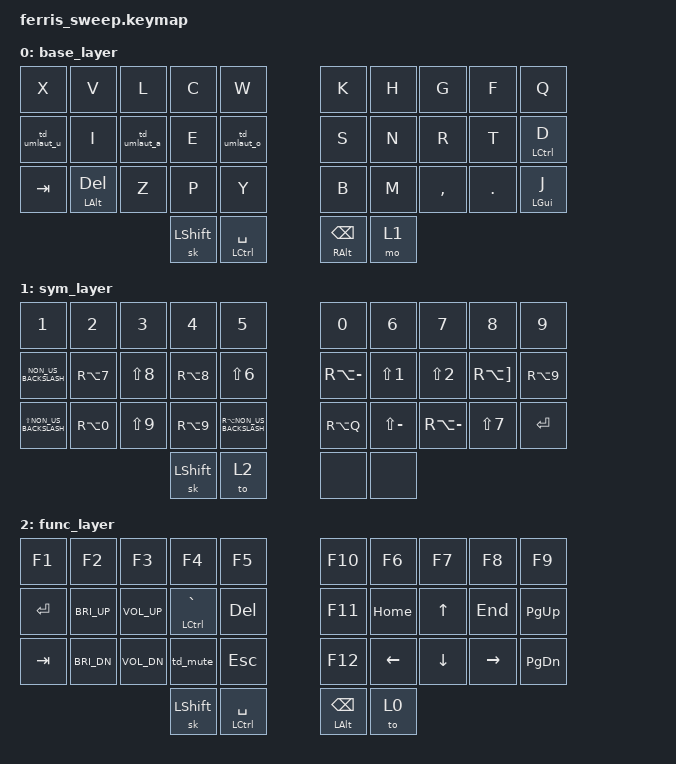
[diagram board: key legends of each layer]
#include <behaviors.dtsi>
#include <dt-bindings/zmk/keys.h>
#include <dt-bindings/zmk/bt.h>

/*
 * Deutsche Keycodes (für deutsches Tastaturlayout am PC)
 * Basierend auf HID-Scancodes mit deutschem Layout
 */
#define DE_Y        Z       // Z und Y sind im deutschen Layout vertauscht
#define DE_Z        Y
#define DE_ESZETT   LS(MINUS)         // ß = Shift + -
#define DE_A_UMLAUT LS(SQT)          // Ä = Shift + '
#define DE_O_UMLAUT SEMI             // Ö = ;
#define DE_U_UMLAUT LBKT             // Ü = [

// Sonderzeichen
#define DE_LESS_THAN        NON_US_BACKSLASH          // <
#define DE_GREATER_THAN     LS(NON_US_BACKSLASH)      // >
#define DE_PIPE             RA(NON_US_BACKSLASH)      // |
#define DE_BACKSLASH        RA(MINUS)                 // Backslash
#define DE_LEFT_BRACE       RA(N7)                    // {
#define DE_RIGHT_BRACE      RA(N0)                    // }
#define DE_LEFT_BRACKET     RA(N8)                    // [
#define DE_RIGHT_BRACKET    RA(N9)                    // ]
#define DE_LEFT_PARENTHESIS LS(N8)                    // (
#define DE_RIGHT_PARENTHESIS LS(N9)                   // )
#define DE_AMPERSAND        LS(N6)                    // &
#define DE_EXCLAMATION      LS(N1)                    // !
#define DE_DOUBLE_QUOTES    LS(N2)                    // "
#define DE_TILDE            RA(RBKT)                  // ~
#define DE_AT               RA(Q)                     // @
#define DE_QUESTION         LS(MINUS)                 // ?  (Achtung: gleiches HID wie ß, OS-abhängig)
#define DE_SLASH            LS(N7)                    // /
#define DE_EQUAL            LS(N0)                    // =

/*
 * Tastenpositionen (für Combos):
 *
 *  0  1  2  3  4      5  6  7  8  9
 * 10 11 12 13 14     15 16 17 18 19
 * 20 21 22 23 24     25 26 27 28 29
 *          30 31     32 33
 *
 * Base Layer:
 *  X  V  L  C  W      K  H  G  F  Q
 *  Ü  I  Ä  E  Ö      S  N  R  T  D
 * TAB DEL Y  P  Z      B  M  ,  .  J
 *           SFT SPC   BSP SYM
 *
 * Combo: Z(24) + S(15) = ß
 */

/ {
    combos {
        compatible = "zmk,combos";

        combo_eszett {
            timeout-ms = <50>;
            key-positions = <24 15>;
            bindings = <&kp DE_ESZETT>;
        };
    };

    behaviors {
        td_umlaut_u: td_umlaut_u {
            compatible = "zmk,behavior-tap-dance";
            #binding-cells = <0>;
            tapping-term-ms = <175>;
            bindings = <&kp U>, <&kp DE_U_UMLAUT>;
        };
        td_umlaut_a: td_umlaut_a {
            compatible = "zmk,behavior-tap-dance";
            #binding-cells = <0>;
            tapping-term-ms = <175>;
            bindings = <&kp A>, <&kp DE_A_UMLAUT>;
        };
        td_umlaut_o: td_umlaut_o {
            compatible = "zmk,behavior-tap-dance";
            #binding-cells = <0>;
            tapping-term-ms = <175>;
            bindings = <&kp O>, <&kp DE_O_UMLAUT>;
        };
        td_mute: td_mute {
            compatible = "zmk,behavior-tap-dance";
            #binding-cells = <0>;
            tapping-term-ms = <175>;
            bindings = <&kp K_MUTE>, <&kp DE_EQUAL>;
        };
    };

    keymap {
        compatible = "zmk,keymap";

        base_layer {
            bindings = <
// ╭─────────────┬─────────────┬─────────────┬─────────────┬─────────────╮   ╭─────────────┬─────────────┬─────────────┬─────────────┬─────────────╮
//  0             1             2             3             4                  5             6             7             8             9
    &kp X         &kp V         &kp L         &kp C         &kp W             &kp K         &kp H         &kp G         &kp F         &kp Q
// ├─────────────┼─────────────┼─────────────┼─────────────┼─────────────┤   ├─────────────┼─────────────┼─────────────┼─────────────┼─────────────┤
//  10            11            12            13            14                 15            16            17            18            19
    &td_umlaut_u  &kp I         &td_umlaut_a  &kp E         &td_umlaut_o      &kp S         &kp N         &kp R         &kp T         &mt LCTRL D
// ├─────────────┼─────────────┼─────────────┼─────────────┼─────────────┤   ├─────────────┼─────────────┼─────────────┼─────────────┼─────────────┤
//  20            21            22            23            24                 25            26            27            28            29
    &kp TAB       &mt LALT DEL  &kp DE_Y      &kp P         &kp DE_Z          &kp B         &kp M         &kp COMMA     &kp DOT       &mt LGUI J
// ╰─────────────┴─────────────┴─────────────┼─────────────┼─────────────┤   ├─────────────┼─────────────┼─────────────┴─────────────┴─────────────╯
//                                            30            31                 32            33
                                              &sk LSHFT     &mt LCTRL SPACE   &mt RALT BSPC &mo 1
//                                           ╰─────────────┴─────────────╯   ╰─────────────┴─────────────╯
            >;
        };

        sym_layer {
            bindings = <
// ╭─────────────┬─────────────┬─────────────┬─────────────┬─────────────╮   ╭─────────────┬─────────────┬─────────────┬─────────────┬─────────────╮
    &kp N1           &kp N2           &kp N3                &kp N4            &kp N5            &kp N0             &kp N6           &kp N7            &kp N8            &kp N9
// ├─────────────┼─────────────┼─────────────┼─────────────┼─────────────┤   ├─────────────┼─────────────┼─────────────┼─────────────┼─────────────┤
    &kp DE_LESS_THAN &kp DE_LEFT_BRACE &kp DE_LEFT_PARENTHESIS &kp DE_LEFT_BRACKET &kp DE_AMPERSAND   &kp DE_BACKSLASH &kp DE_EXCLAMATION &kp DE_DOUBLE_QUOTES &kp DE_TILDE &kp DE_RIGHT_BRACKET
// ├─────────────┼─────────────┼─────────────┼─────────────┼─────────────┤   ├─────────────┼─────────────┼─────────────┼─────────────┼─────────────┤
    &kp DE_GREATER_THAN &kp DE_RIGHT_BRACE &kp DE_RIGHT_PARENTHESIS &kp DE_RIGHT_BRACKET &kp DE_PIPE   &kp DE_AT   &kp DE_QUESTION &kp DE_BACKSLASH &kp DE_SLASH &kp ENTER
// ╰─────────────┴─────────────┴─────────────┼─────────────┼─────────────┤   ├─────────────┼─────────────┼─────────────┴─────────────┴─────────────╯
                                              &sk LSHFT     &to 2             &none         &none
//                                           ╰─────────────┴─────────────╯   ╰─────────────┴─────────────╯
            >;
        };

        func_layer {
            bindings = <
// ╭─────────────┬─────────────┬─────────────┬─────────────┬─────────────╮   ╭─────────────┬─────────────┬─────────────┬─────────────┬─────────────╮
    &kp F1        &kp F2        &kp F3        &kp F4        &kp F5            &kp F10       &kp F6        &kp F7        &kp F8        &kp F9
// ├─────────────┼─────────────┼─────────────┼─────────────┼─────────────┤   ├─────────────┼─────────────┼─────────────┼─────────────┼─────────────┤
    &kp ENTER     &kp C_BRI_UP  &kp C_VOL_UP  &mt LCTRL GRAVE &kp DEL         &kp F11       &kp HOME      &kp UP        &kp END       &kp PG_UP
// ├─────────────┼─────────────┼─────────────┼─────────────┼─────────────┤   ├─────────────┼─────────────┼─────────────┼─────────────┼─────────────┤
    &kp TAB       &kp C_BRI_DN  &kp C_VOL_DN  &td_mute      &kp ESC           &kp F12       &kp LEFT      &kp DOWN      &kp RIGHT     &kp PG_DN
// ╰─────────────┴─────────────┴─────────────┼─────────────┼─────────────┤   ├─────────────┼─────────────┼─────────────┴─────────────┴─────────────╯
                                              &sk LSHFT     &mt LCTRL SPACE   &mt LALT BSPC &to 0
//                                           ╰─────────────┴─────────────╯   ╰─────────────┴─────────────╯
            >;
        };
    };
};
